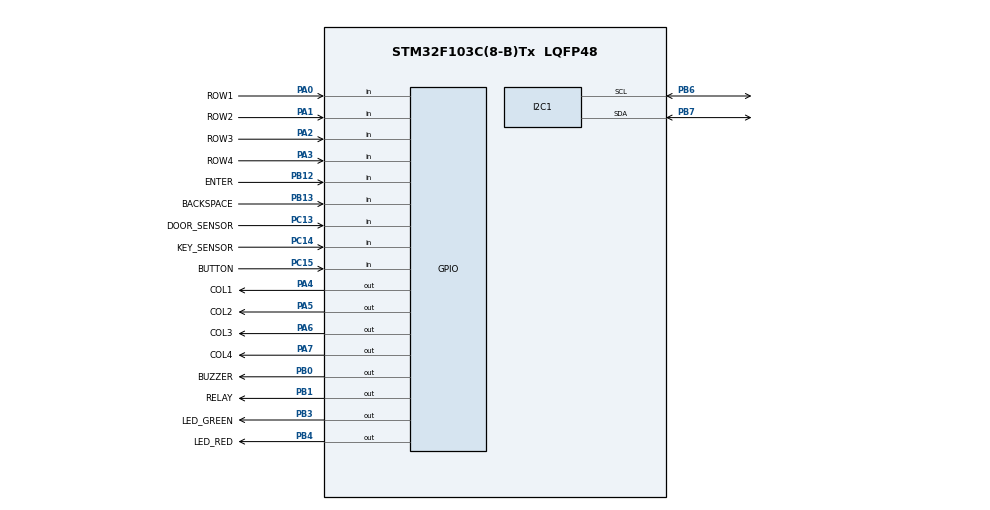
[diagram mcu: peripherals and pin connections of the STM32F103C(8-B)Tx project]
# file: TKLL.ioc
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Mcu.Family=STM32F1
Mcu.Name=STM32F103C(8-B)Tx
Mcu.Package=LQFP48
NVIC.I2C1_ER_IRQn=true\:0\:0\:false\:false\:true\:true\:true
NVIC.PriorityGroup=NVIC_PRIORITYGROUP_4
NVIC.TIM2_IRQn=true\:0\:0\:false\:false\:true\:true\:true
PA0-WKUP.GPIO_Label=ROW1
PA0-WKUP.GPIO_PuPd=GPIO_PULLUP
PA0-WKUP.Signal=GPIO_Input
PA1.GPIO_Label=ROW2
PA1.GPIO_PuPd=GPIO_PULLUP
PA1.Signal=GPIO_Input
PA13.Mode=Serial_Wire
PA13.Signal=SYS_JTMS-SWDIO
PA14.Mode=Serial_Wire
PA14.Signal=SYS_JTCK-SWCLK
PA2.GPIO_Label=ROW3
PA2.GPIO_PuPd=GPIO_PULLUP
PA2.Signal=GPIO_Input
PA3.GPIO_Label=ROW4
PA3.GPIO_PuPd=GPIO_PULLUP
PA3.Signal=GPIO_Input
PA4.GPIO_Label=COL1
PA4.Signal=GPIO_Output
PA5.GPIO_Label=COL2
PA5.Signal=GPIO_Output
PA6.GPIO_Label=COL3
PA6.Signal=GPIO_Output
PA7.GPIO_Label=COL4
PA7.Signal=GPIO_Output
PB0.GPIO_Label=BUZZER
PB0.Signal=GPIO_Output
PB1.GPIO_Label=RELAY
PB1.Signal=GPIO_Output
PB12.GPIO_Label=ENTER
PB12.GPIO_PuPd=GPIO_PULLUP
PB12.Signal=GPIO_Input
PB13.GPIO_Label=BACKSPACE
PB13.GPIO_PuPd=GPIO_PULLUP
PB13.Signal=GPIO_Input
PB3.GPIO_Label=LED_GREEN
PB3.Signal=GPIO_Output
PB4.GPIO_Label=LED_RED
PB4.Signal=GPIO_Output
PB6.Mode=I2C
PB6.Signal=I2C1_SCL
PB7.Mode=I2C
PB7.Signal=I2C1_SDA
PC13-TAMPER-RTC.GPIO_Label=DOOR_SENSOR
PC13-TAMPER-RTC.GPIO_PuPd=GPIO_PULLUP
PC13-TAMPER-RTC.Signal=GPIO_Input
PC14-OSC32_IN.GPIO_Label=KEY_SENSOR
PC14-OSC32_IN.GPIO_PuPd=GPIO_PULLUP
PC14-OSC32_IN.Signal=GPIO_Input
PC15-OSC32_OUT.GPIO_Label=BUTTON
PC15-OSC32_OUT.GPIO_PuPd=GPIO_PULLUP
PC15-OSC32_OUT.Signal=GPIO_Input
ProjectManager.HeapSize=0x200
ProjectManager.StackSize=0x400
ProjectManager.TargetToolchain=STM32CubeIDE
RCC.APB1Freq_Value=8000000
RCC.APB2Freq_Value=8000000
TIM2.Period=9
TIM2.Prescaler=7999
VP_TIM2_VS_ClockSourceINT.Mode=Internal
board=custom

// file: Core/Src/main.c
/* USER CODE BEGIN Header */
/**
  ******************************************************************************
  * @file           : main.c
  * @brief          : Main program body
  ******************************************************************************
  * @attention
  *
  * <h2><center>&copy; Copyright (c) 2025 STMicroelectronics.
  * All rights reserved.</center></h2>
  *
  * This software component is licensed by ST under BSD 3-Clause license,
  * the "License"; You may not use this file except in compliance with the
  * License. You may obtain a copy of the License at:
  *                        opensource.org/licenses/BSD-3-Clause
  *
  ******************************************************************************
  */
/* USER CODE END Header */
#include "main.h"

/* USER CODE BEGIN Includes */
#include "global.h"
#include "input_processing.h"
#include "output_processing.h"
#include "state_processing.h"
#include "scheduler.h"
#include "timer.h"
#include "keypad.h"
#include "i2c_lcd.h"
#include "input_reading.h"
/* USER CODE END Includes */

I2C_HandleTypeDef hi2c1;

TIM_HandleTypeDef htim2;

void SystemClock_Config(void);
static void MX_GPIO_Init(void);
static void MX_I2C1_Init(void);
static void MX_TIM2_Init(void);

/* USER CODE BEGIN 0 */
I2C_LCD_HandleTypeDef lcd1;
/* USER CODE END 0 */

int main(void)
{

  /* MCU Configuration--------------------------------------------------------*/

  /* Reset of all peripherals, Initializes the Flash interface and the Systick. */
  HAL_Init();

  /* Configure the system clock */
  SystemClock_Config();

  /* Initialize all configured peripherals */
  MX_GPIO_Init();
  MX_I2C1_Init();
  MX_TIM2_Init();
  /* USER CODE BEGIN 2 */
  HAL_TIM_Base_Start_IT(&htim2);
  // LCD Driver
  lcd1.hi2c = &hi2c1;     // I2C from MX
  lcd1.address = (0x27 <<1);
  lcd_init(&lcd1);
  lcd_clear(&lcd1);

  // Global Variables
  init_global_variables();

  // Khởi tạo Scheduler
  SCH_Init();

  // Khởi tạo Keypad Driver
  Keypad_Init(&hKeypad, KEYMAP,
		  	  COL1_GPIO_Port, COL1_Pin,
			  COL2_GPIO_Port, COL2_Pin,
			  COL3_GPIO_Port, COL3_Pin,
			  COL4_GPIO_Port, COL4_Pin,
			  ROW1_GPIO_Port, ROW1_Pin,
			  ROW2_GPIO_Port, ROW2_Pin,
			  ROW3_GPIO_Port, ROW3_Pin,
			  ROW4_GPIO_Port, ROW4_Pin);

  // Logic Modules Initialization
  Input_Init();
  input_reading_init();
  Output_Init();
  State_Init();
//  SCH_Add_Task(timerRun, 0, 1);
  SCH_Add_Task(button_reading, 0, 1);
  SCH_Add_Task(Input_Process,  0, 1);
  SCH_Add_Task(State_Process,  1, 1);
  SCH_Add_Task(Output_Process, 2, 1);
  /* USER CODE END 2 */

  /* Infinite loop */
  while (1)
  {

	  SCH_Dispatch_Tasks();
  }
}

void SystemClock_Config(void)
{
  RCC_OscInitTypeDef RCC_OscInitStruct = {0};
  RCC_ClkInitTypeDef RCC_ClkInitStruct = {0};

  /** Initializes the RCC Oscillators according to the specified parameters
  * in the RCC_OscInitTypeDef structure.
  */
  RCC_OscInitStruct.OscillatorType = RCC_OSCILLATORTYPE_HSI;
  RCC_OscInitStruct.HSIState = RCC_HSI_ON;
  RCC_OscInitStruct.HSICalibrationValue = RCC_HSICALIBRATION_DEFAULT;
  RCC_OscInitStruct.PLL.PLLState = RCC_PLL_NONE;
  if (HAL_RCC_OscConfig(&RCC_OscInitStruct) != HAL_OK)
  {
    Error_Handler();
  }
  /** Initializes the CPU, AHB and APB buses clocks
  */
  RCC_ClkInitStruct.ClockType = RCC_CLOCKTYPE_HCLK|RCC_CLOCKTYPE_SYSCLK
                              |RCC_CLOCKTYPE_PCLK1|RCC_CLOCKTYPE_PCLK2;
  RCC_ClkInitStruct.SYSCLKSource = RCC_SYSCLKSOURCE_HSI;
  RCC_ClkInitStruct.AHBCLKDivider = RCC_SYSCLK_DIV1;
  RCC_ClkInitStruct.APB1CLKDivider = RCC_HCLK_DIV1;
  RCC_ClkInitStruct.APB2CLKDivider = RCC_HCLK_DIV1;

  if (HAL_RCC_ClockConfig(&RCC_ClkInitStruct, FLASH_LATENCY_0) != HAL_OK)
  {
    Error_Handler();
  }
}

static void MX_I2C1_Init(void)
{

  hi2c1.Instance = I2C1;
  hi2c1.Init.ClockSpeed = 100000;
  hi2c1.Init.DutyCycle = I2C_DUTYCYCLE_2;
  hi2c1.Init.OwnAddress1 = 0;
  hi2c1.Init.AddressingMode = I2C_ADDRESSINGMODE_7BIT;
  hi2c1.Init.DualAddressMode = I2C_DUALADDRESS_DISABLE;
  hi2c1.Init.OwnAddress2 = 0;
  hi2c1.Init.GeneralCallMode = I2C_GENERALCALL_DISABLE;
  hi2c1.Init.NoStretchMode = I2C_NOSTRETCH_DISABLE;
  if (HAL_I2C_Init(&hi2c1) != HAL_OK)
  {
    Error_Handler();
  }

}

static void MX_TIM2_Init(void)
{

  TIM_ClockConfigTypeDef sClockSourceConfig = {0};
  TIM_MasterConfigTypeDef sMasterConfig = {0};

  htim2.Instance = TIM2;
  htim2.Init.Prescaler = 7999;
  htim2.Init.CounterMode = TIM_COUNTERMODE_UP;
  htim2.Init.Period = 9;
  htim2.Init.ClockDivision = TIM_CLOCKDIVISION_DIV1;
  htim2.Init.AutoReloadPreload = TIM_AUTORELOAD_PRELOAD_DISABLE;
  if (HAL_TIM_Base_Init(&htim2) != HAL_OK)
  {
    Error_Handler();
  }
  sClockSourceConfig.ClockSource = TIM_CLOCKSOURCE_INTERNAL;
  if (HAL_TIM_ConfigClockSource(&htim2, &sClockSourceConfig) != HAL_OK)
  {
    Error_Handler();
  }
  sMasterConfig.MasterOutputTrigger = TIM_TRGO_RESET;
  sMasterConfig.MasterSlaveMode = TIM_MASTERSLAVEMODE_DISABLE;
  if (HAL_TIMEx_MasterConfigSynchronization(&htim2, &sMasterConfig) != HAL_OK)
  {
    Error_Handler();
  }

}

static void MX_GPIO_Init(void)
{
  GPIO_InitTypeDef GPIO_InitStruct = {0};

  /* GPIO Ports Clock Enable */
  __HAL_RCC_GPIOC_CLK_ENABLE();
  __HAL_RCC_GPIOA_CLK_ENABLE();
  __HAL_RCC_GPIOB_CLK_ENABLE();

  /*Configure GPIO pin Output Level */
  HAL_GPIO_WritePin(GPIOA, COL1_Pin|COL2_Pin|COL3_Pin|COL4_Pin, GPIO_PIN_RESET);

  /*Configure GPIO pin Output Level */
  HAL_GPIO_WritePin(GPIOB, BUZZER_Pin|RELAY_Pin|LED_GREEN_Pin|LED_RED_Pin, GPIO_PIN_RESET);

  /*Configure GPIO pins : DOOR_SENSOR_Pin KEY_SENSOR_Pin BUTTON_Pin */
  GPIO_InitStruct.Pin = DOOR_SENSOR_Pin|KEY_SENSOR_Pin|BUTTON_Pin;
  GPIO_InitStruct.Mode = GPIO_MODE_INPUT;
  GPIO_InitStruct.Pull = GPIO_PULLUP;
  HAL_GPIO_Init(GPIOC, &GPIO_InitStruct);

  /*Configure GPIO pins : ROW1_Pin ROW2_Pin ROW3_Pin ROW4_Pin */
  GPIO_InitStruct.Pin = ROW1_Pin|ROW2_Pin|ROW3_Pin|ROW4_Pin;
  GPIO_InitStruct.Mode = GPIO_MODE_INPUT;
  GPIO_InitStruct.Pull = GPIO_PULLUP;
  HAL_GPIO_Init(GPIOA, &GPIO_InitStruct);

  /*Configure GPIO pins : COL1_Pin COL2_Pin COL3_Pin COL4_Pin */
  GPIO_InitStruct.Pin = COL1_Pin|COL2_Pin|COL3_Pin|COL4_Pin;
  GPIO_InitStruct.Mode = GPIO_MODE_OUTPUT_PP;
  GPIO_InitStruct.Pull = GPIO_NOPULL;
  GPIO_InitStruct.Speed = GPIO_SPEED_FREQ_LOW;
  HAL_GPIO_Init(GPIOA, &GPIO_InitStruct);

  /*Configure GPIO pins : BUZZER_Pin RELAY_Pin LED_GREEN_Pin LED_RED_Pin */
  GPIO_InitStruct.Pin = BUZZER_Pin|RELAY_Pin|LED_GREEN_Pin|LED_RED_Pin;
  GPIO_InitStruct.Mode = GPIO_MODE_OUTPUT_PP;
  GPIO_InitStruct.Pull = GPIO_NOPULL;
  GPIO_InitStruct.Speed = GPIO_SPEED_FREQ_LOW;
  HAL_GPIO_Init(GPIOB, &GPIO_InitStruct);

  /*Configure GPIO pins : ENTER_Pin BACKSPACE_Pin */
  GPIO_InitStruct.Pin = ENTER_Pin|BACKSPACE_Pin;
  GPIO_InitStruct.Mode = GPIO_MODE_INPUT;
  GPIO_InitStruct.Pull = GPIO_PULLUP;
  HAL_GPIO_Init(GPIOB, &GPIO_InitStruct);

}

/* USER CODE BEGIN 4 */
void HAL_TIM_PeriodElapsedCallback(TIM_HandleTypeDef *htim) {
	SCH_Update();
	timerRun();
}
/* USER CODE END 4 */

void Error_Handler(void)
{
  __disable_irq();
  while (1)
  {
  }
}

/************************ (C) COPYRIGHT STMicroelectronics *****END OF FILE****/
